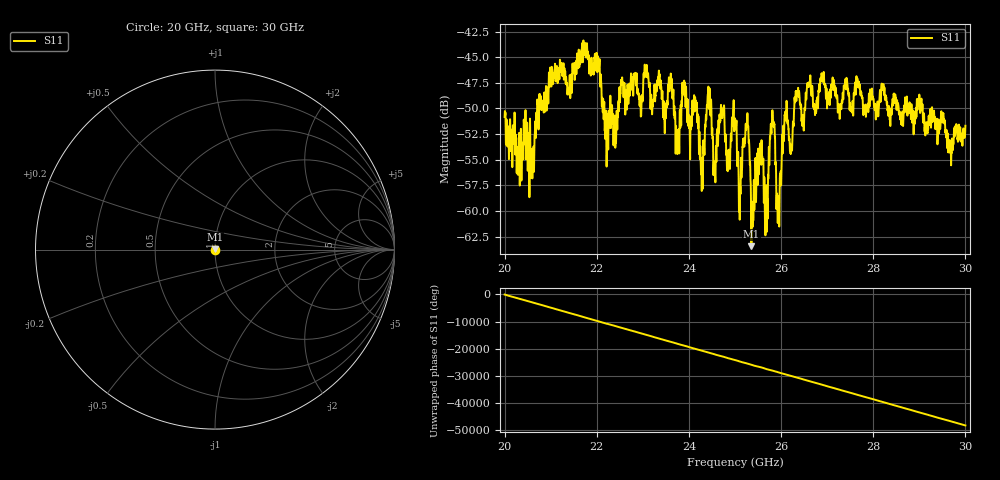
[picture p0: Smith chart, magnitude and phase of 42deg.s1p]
#  HZ  S  RI  R  50.00
! Rohde & Schwarz ZVA40 4Ports - Version 3.90 - 1145.1110k42 SN: 100403
! Date: 2023-10-03 12:53:57
! Measurement: S12
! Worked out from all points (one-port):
!   5001 points, 20 GHz to 30 GHz, reference 50 ohm
!   lowest |S11| = -63.4 dB at 25.36 GHz (marker M1), VSWR 1.00, Z = 50 + j0.0667 ohm
!   |S11| at or under -10 dB: start of sweep to end of sweep
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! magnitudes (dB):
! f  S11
! 20 GHz  -50.8
! 20.59 GHz  -54.5
! 20.74 GHz  -51.5
! 21.25 GHz  -46.8
! 22.01 GHz  -46.3
! 22.22 GHz  -54.2
! 22.5 GHz  -49.3
! 23.59 GHz  -47.8
! 23.75 GHz  -54.4
! 23.89 GHz  -47.9
! 24.29 GHz  -55.0
! 24.43 GHz  -50.0
! 24.56 GHz  -55.3
! 24.71 GHz  -50.5
! 25 GHz  -51.7
! 25.11 GHz  -58.4
! 25.27 GHz  -50.5
! 25.36 GHz  -63.4
! 25.57 GHz  -55.5
! 25.67 GHz  -59.0
! 25.82 GHz  -50.4
! 25.94 GHz  -59.2
! 26.09 GHz  -50.3
! 26.25 GHz  -52.3
! 26.89 GHz  -47.3
! 27.5 GHz  -49.6
! 28.75 GHz  -49.6
! 30 GHz  -51.7
